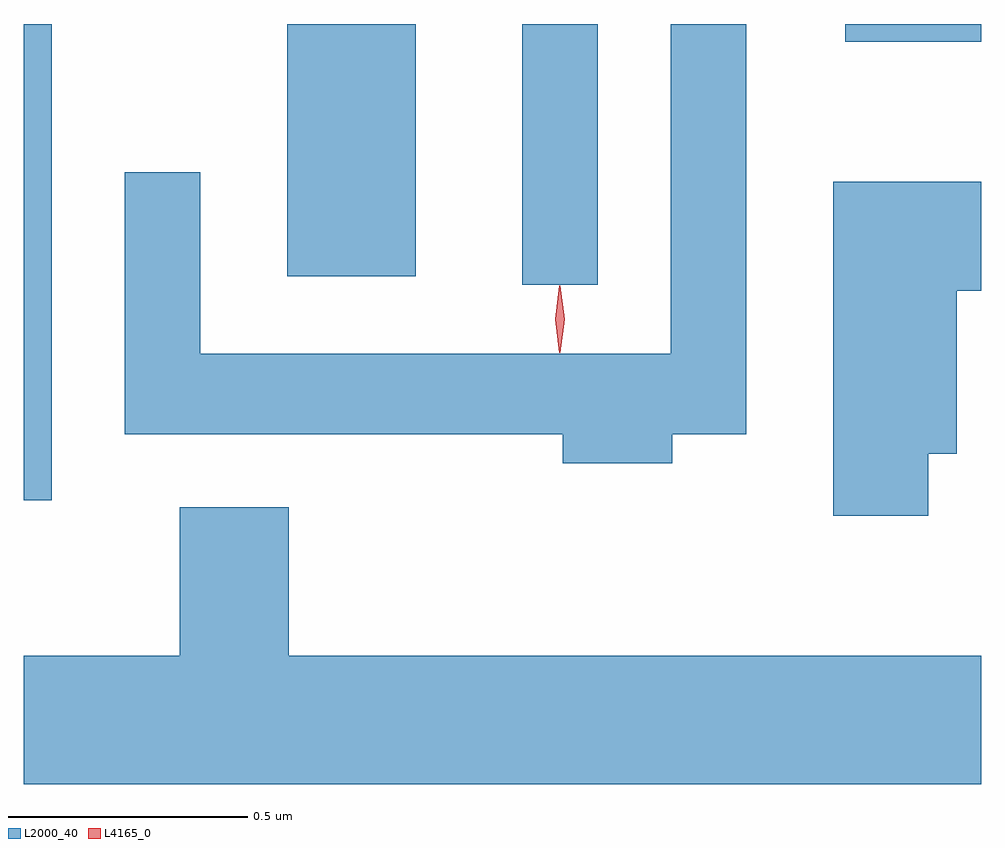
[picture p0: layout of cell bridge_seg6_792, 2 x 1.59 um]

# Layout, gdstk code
import gdstk
lib = gdstk.Library(unit=1e-6, precision=1e-09)
def R(c, l, rs):  # rectangles x0, y0, x1, y1
    for r in rs: c.add(gdstk.rectangle(r[:2], r[2:], *l))
def P(c, l, *ps):  # polygons
    for p in ps: c.add(gdstk.Polygon(p, *l))
L2000_40 = (2000, 40)
L4165_0 = (4165, 0)

bridge_seg6_792 = lib.new_cell('bridge_seg6_792')
R(bridge_seg6_792, L2000_40, [(408.965,1566.168,409.024,1567.163), (410.006,1566.618,410.164,1567.163), (409.516,1566.636,409.784,1567.163), (410.681,1567.126,410.965,1567.163)])
P(bridge_seg6_792, L2000_40, [(410.319,1566.306),(410.474,1566.306),(410.474,1567.163),(410.316,1567.163),(410.316,1566.474),(409.334,1566.474),(409.334,1566.853),(409.176,1566.853),(409.176,1566.306),(410.091,1566.306),(410.091,1566.246),(410.319,1566.246)],
  [(410.854,1566.266),(410.914,1566.266),(410.914,1566.606),(410.965,1566.606),(410.965,1566.834),(410.656,1566.834),(410.656,1566.136),(410.854,1566.136)],
  [(410.965,1565.844),(409.519,1565.844),(409.519,1566.154),(409.291,1566.154),(409.291,1565.844),(408.965,1565.844),(408.965,1565.576),(410.965,1565.576)])
P(bridge_seg6_792, L4165_0, [(410.084,1566.477),(410.075,1566.546),(410.084,1566.616),(410.085,1566.616),(410.086,1566.616),(410.095,1566.546),(410.086,1566.477),(410.085,1566.477)],
  [(410.085,1566.479),(410.084,1566.48),(410.075,1566.546),(410.084,1566.612),(410.085,1566.613),(410.085,1566.612),(410.095,1566.546),(410.085,1566.48)])

lib.write_gds('bridge_seg6_792.gds')
